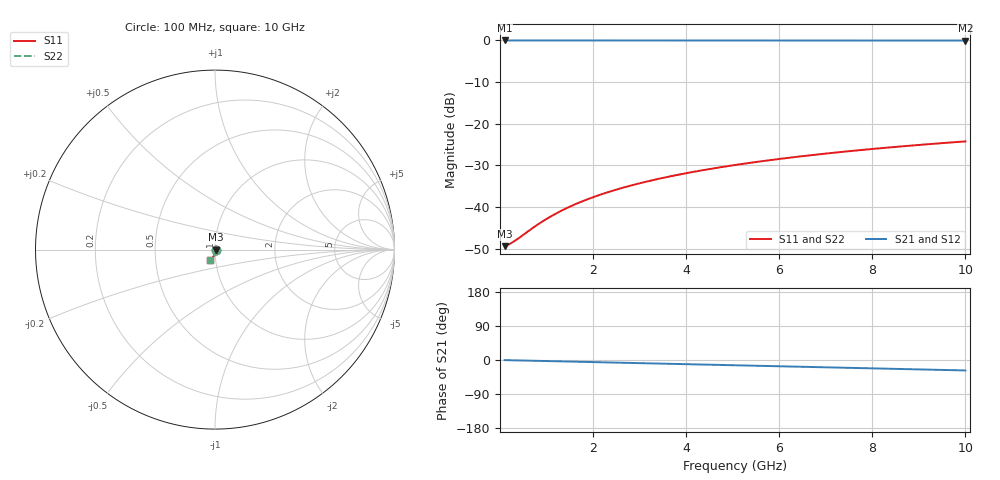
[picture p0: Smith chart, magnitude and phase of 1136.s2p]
# Hz S RI R 50.00
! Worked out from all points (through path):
!   100 points, 100 MHz to 10 GHz, reference 50 ohm
!   highest |S21| = -0.03 dB at 100 MHz (marker M1); lowest = -0.1 dB at 10 GHz (marker M2)
!   group delay of S21, straight-line fit = 7.66 ps
!   lowest |S11| = -49.4 dB at 100 MHz (marker M3), VSWR 1.01, Z = 50.3 - j0.0655 ohm
!   |S11| at or under -10 dB: start of sweep to end of sweep
!   |S22| runs from -49.4 to -24.2 dB; largest |S21 - S12| = 0
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1e8  0.00334 -0.000651  0.9966 -0.00479  0.9966 -0.00479  0.00334 -0.000651
2e8  0.00335 -0.0013  0.9966 -0.00958  0.9966 -0.00958  0.00335 -0.0013
3e8  0.00335 -0.00195  0.9965 -0.0144  0.9965 -0.0144  0.00335 -0.00195
8e8  0.00322 -0.00521  0.9958 -0.0383  0.9958 -0.0383  0.00322 -0.00521
9e8  0.00317 -0.00586  0.9956 -0.0431  0.9956 -0.0431  0.00317 -0.00586
1.1e9  0.00306 -0.00715  0.9951 -0.0527  0.9951 -0.0527  0.00306 -0.00715
1.4e9  0.00284 -0.0091  0.9942 -0.067  0.9942 -0.067  0.00284 -0.0091
1.6e9  0.00266 -0.0104  0.9935 -0.0766  0.9935 -0.0766  0.00266 -0.0104
1.8e9  0.00245 -0.0117  0.9926 -0.0861  0.9926 -0.0861  0.00245 -0.0117
2.1e9  0.0021 -0.0136  0.9913 -0.1005  0.9913 -0.1005  0.0021 -0.0136
2.5e9  0.00154 -0.0161  0.9891 -0.1195  0.9891 -0.1195  0.00154 -0.0161
2.9e9  0.000887 -0.0187  0.9865 -0.1385  0.9865 -0.1385  0.000887 -0.0187
3.4e9  -6.89e-05 -0.0218  0.9828 -0.1622  0.9828 -0.1622  -6.89e-05 -0.0218
3.8e9  -0.000941 -0.0243  0.9794 -0.181  0.9794 -0.181  -0.000941 -0.0243
4.2e9  -0.00191 -0.0267  0.9757 -0.1998  0.9757 -0.1998  -0.00191 -0.0267
4.6e9  -0.00296 -0.0291  0.9715 -0.2186  0.9715 -0.2186  -0.00296 -0.0291
5.1e9  -0.00441 -0.032  0.9659 -0.2418  0.9659 -0.2418  -0.00441 -0.032
5.9e9  -0.00702 -0.0365  0.9556 -0.2788  0.9556 -0.2788  -0.00702 -0.0365
6.7e9  -0.00996 -0.0409  0.9439 -0.3153  0.9439 -0.3153  -0.00996 -0.0409
7.5e9  -0.0132 -0.0449  0.9308 -0.3513  0.9308 -0.3513  -0.0132 -0.0449
8.4e9  -0.0173 -0.0492  0.9145 -0.3911  0.9145 -0.3911  -0.0173 -0.0492
1e10  -0.0253 -0.056  0.8811 -0.4601  0.8811 -0.4601  -0.0253 -0.056
